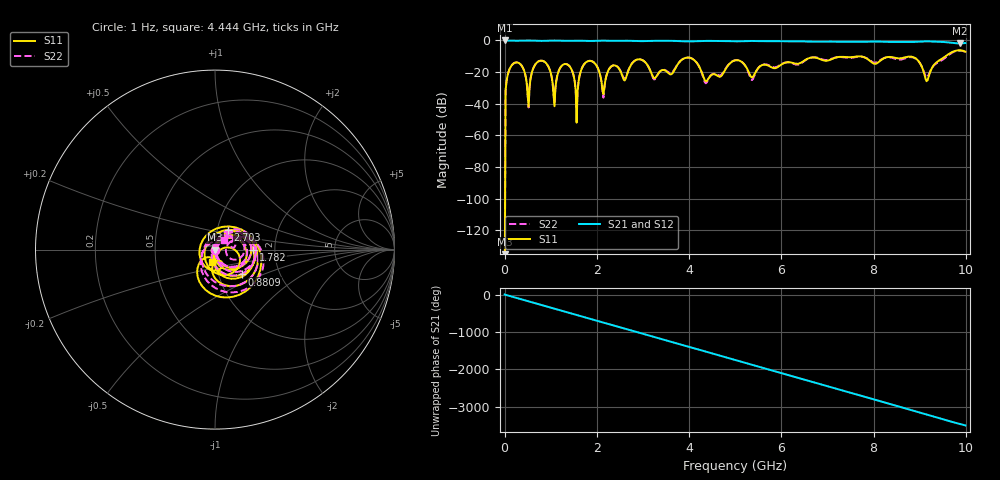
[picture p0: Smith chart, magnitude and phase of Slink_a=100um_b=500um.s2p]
! TouchStone data converted from IdEM dataset
# Hz S DB R 50
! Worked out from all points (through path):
!   500 points, 1 Hz to 9.99 GHz, reference 50 ohm
!   highest |S21| = 0.00 dB at 1 Hz (marker M1); lowest = -1.9 dB at 9.87 GHz (marker M2)
!   group delay of S21, straight-line fit = 975 ps
!   lowest |S11| = -178.0 dB at 1 Hz (marker M3), VSWR 1.00, Z = 50 + j1.25e-07 ohm
!   |S11| at or under -10 dB: start of sweep to 9.559 GHz
!   |S22| runs from -178.0 to -6.4 dB; largest |S21 - S12| = 4.3e-15
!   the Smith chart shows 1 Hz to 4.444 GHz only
!   S11 on the Smith chart (normalised r, x): 1 Hz: 1.00, +0.00; 880.9 MHz: 1.29, -0.37; 1.782 GHz: 1.54, +0.00; 2.703 GHz: 1.13, +0.25; 4.444 GHz: 0.96, -0.13
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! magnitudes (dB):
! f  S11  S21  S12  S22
! 1 Hz  -178.0  0.0  0.0  -178.0
! 60.06 MHz  -22.7  0.0  0.0  -22.7
! 140.1 MHz  -16.3  -0.1  -0.1  -16.3
! 520.5 MHz  -41.9  0.0  0.0  -42.3
! 880.9 MHz  -13.8  -0.2  -0.2  -13.8
! 1.081 GHz  -41.6  -0.1  -0.1  -39.8
! 1.401 GHz  -16.1  -0.2  -0.2  -16.1
! 1.562 GHz  -51.9  -0.1  -0.1  -44.1
! 1.682 GHz  -17.1  -0.2  -0.2  -17.1
! 1.782 GHz  -13.5  -0.3  -0.3  -13.4
! 2.142 GHz  -33.9  -0.1  -0.1  -36.1
! 2.703 GHz  -17.6  -0.2  -0.2  -17.4
! 3.343 GHz  -20.4  -0.2  -0.2  -20.5
! 3.984 GHz  -10.8  -0.6  -0.6  -10.8
! 4.444 GHz  -22.9  -0.3  -0.3  -23.1
! 5.005 GHz  -12.5  -0.5  -0.5  -12.5
! 5.365 GHz  -23.4  -0.3  -0.3  -25.0
! 6.667 GHz  -10.8  -0.8  -0.8  -10.7
! 8.328 GHz  -10.4  -0.9  -0.9  -10.6
! 9.149 GHz  -25.8  -0.6  -0.6  -23.5
! 9.87 GHz  -6.2  -1.9  -1.9  -6.4
! 9.99 GHz  -7.1  -1.6  -1.6  -7.2
